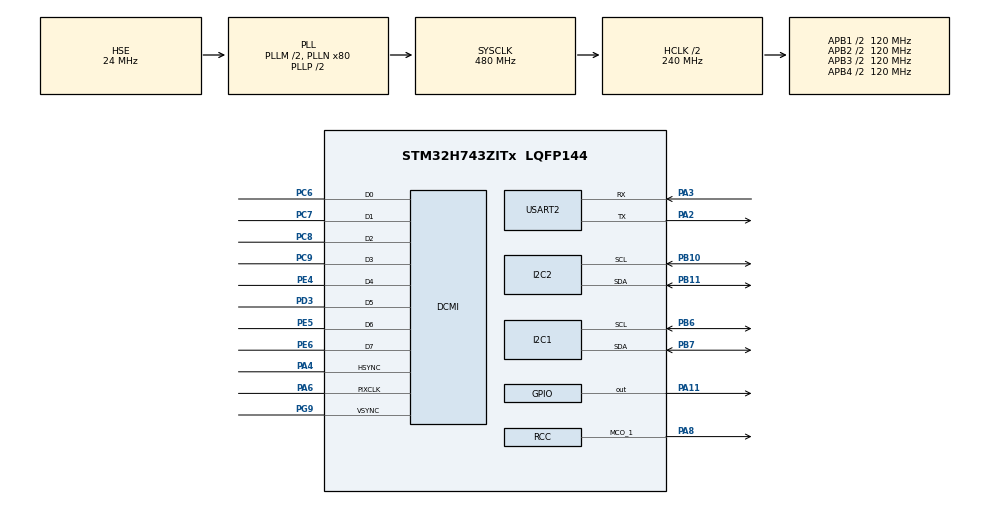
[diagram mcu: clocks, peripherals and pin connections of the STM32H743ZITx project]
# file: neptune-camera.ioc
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CORTEX_M7.default_mode_Activation=1
DCMI.HSPolarity=DCMI_HSPOLARITY_HIGH
DCMI.PCKPolarity=DCMI_PCKPOLARITY_RISING
DCMI.VSPolarity=DCMI_VSPOLARITY_HIGH
Dma.DCMI.0.Direction=DMA_PERIPH_TO_MEMORY
Dma.DCMI.0.EventEnable=DISABLE
Dma.DCMI.0.FIFOMode=DMA_FIFOMODE_ENABLE
Dma.DCMI.0.FIFOThreshold=DMA_FIFO_THRESHOLD_FULL
Dma.DCMI.0.Instance=DMA2_Stream1
Dma.DCMI.0.MemBurst=DMA_MBURST_INC4
Dma.DCMI.0.MemDataAlignment=DMA_MDATAALIGN_WORD
Dma.DCMI.0.MemInc=DMA_MINC_ENABLE
Dma.DCMI.0.Mode=DMA_NORMAL
Dma.DCMI.0.PeriphBurst=DMA_PBURST_INC4
Dma.DCMI.0.PeriphDataAlignment=DMA_PDATAALIGN_WORD
Dma.DCMI.0.PeriphInc=DMA_PINC_DISABLE
Dma.DCMI.0.Polarity=HAL_DMAMUX_REQ_GEN_RISING
Dma.DCMI.0.Priority=DMA_PRIORITY_VERY_HIGH
Dma.DCMI.0.RequestNumber=1
Dma.DCMI.0.SignalID=NONE
Dma.DCMI.0.SyncEnable=DISABLE
Dma.DCMI.0.SyncPolarity=HAL_DMAMUX_SYNC_NO_EVENT
Dma.DCMI.0.SyncRequestNumber=1
Dma.DCMI.0.SyncSignalID=NONE
Dma.Request0=DCMI
I2C1.OwnAddress=0x62
I2C1.Timing=0x307075B1
I2C2.Timing=0x307075B1
Mcu.Family=STM32H7
Mcu.Name=STM32H743ZITx
Mcu.Package=LQFP144
NVIC.DCMI_IRQn=true\:0\:0\:false\:false\:true\:true\:true\:true
NVIC.DMA2_Stream1_IRQn=true\:0\:0\:false\:false\:true\:false\:true\:true
NVIC.I2C1_ER_IRQn=true\:0\:0\:false\:false\:true\:true\:true\:true
NVIC.I2C1_EV_IRQn=true\:0\:0\:false\:false\:true\:true\:true\:true
NVIC.PriorityGroup=NVIC_PRIORITYGROUP_4
PA11.GPIO_Speed=GPIO_SPEED_FREQ_VERY_HIGH
PA11.Signal=GPIO_Output
PA13\ (JTMS/SWDIO).Mode=Serial_Wire
PA13\ (JTMS/SWDIO).Signal=DEBUG_JTMS-SWDIO
PA14\ (JTCK/SWCLK).Mode=Serial_Wire
PA14\ (JTCK/SWCLK).Signal=DEBUG_JTCK-SWCLK
PA2.Mode=Asynchronous
PA2.Signal=USART2_TX
PA3.Mode=Asynchronous
PA3.Signal=USART2_RX
PA4.Mode=Slave_8_bits_External_Synchro
PA4.Signal=DCMI_HSYNC
PA6.Mode=Slave_8_bits_External_Synchro
PA6.Signal=DCMI_PIXCLK
PA8.Mode=Clock-out-1
PA8.Signal=RCC_MCO_1
PB10.Mode=I2C
PB10.Signal=I2C2_SCL
PB11.Mode=I2C
PB11.Signal=I2C2_SDA
PB6.Mode=I2C
PB6.Signal=I2C1_SCL
PB7.Mode=I2C
PB7.Signal=I2C1_SDA
PC6.Mode=Slave_8_bits_External_Synchro
PC6.Signal=DCMI_D0
PC7.Mode=Slave_8_bits_External_Synchro
PC7.Signal=DCMI_D1
PC8.Mode=Slave_8_bits_External_Synchro
PC8.Signal=DCMI_D2
PC9.Mode=Slave_8_bits_External_Synchro
PC9.Signal=DCMI_D3
PD3.Mode=Slave_8_bits_External_Synchro
PD3.Signal=DCMI_D5
PE4.Mode=Slave_8_bits_External_Synchro
PE4.Signal=DCMI_D4
PE5.Mode=Slave_8_bits_External_Synchro
PE5.Signal=DCMI_D6
PE6.Mode=Slave_8_bits_External_Synchro
PE6.Signal=DCMI_D7
PG9.Mode=Slave_8_bits_External_Synchro
PG9.Signal=DCMI_VSYNC
PH0-OSC_IN\ (PH0).Mode=HSE-External-Oscillator
PH0-OSC_IN\ (PH0).Signal=RCC_OSC_IN
PH1-OSC_OUT\ (PH1).Mode=HSE-External-Oscillator
PH1-OSC_OUT\ (PH1).Signal=RCC_OSC_OUT
ProjectManager.HeapSize=0x200
ProjectManager.StackSize=0x400
ProjectManager.TargetToolchain=Makefile
RCC.ADCFreq_Value=48375000
RCC.APB1Freq_Value=120000000
RCC.APB2Freq_Value=120000000
RCC.APB3Freq_Value=120000000
RCC.APB4Freq_Value=120000000
RCC.CortexFreq_Value=480000000
RCC.D1PPRE=RCC_APB3_DIV2
RCC.D2PPRE1=RCC_APB1_DIV2
RCC.D2PPRE2=RCC_APB2_DIV2
RCC.D3PPRE=RCC_APB4_DIV2
RCC.DIVM1=2
RCC.DIVN1=80
RCC.HCLKFreq_Value=240000000
RCC.HPRE=RCC_HCLK_DIV2
RCC.HSE_VALUE=24000000
RCC.PLL2FRACN=0
RCC.PLL3FRACN=0
RCC.PLLFRACN=0
RCC.PLLSourceVirtual=RCC_PLLSOURCE_HSE
RCC.RCC_MCO1Source=RCC_MCO1SOURCE_HSE
RCC.SYSCLKFreq_VALUE=480000000
RCC.SYSCLKSource=RCC_SYSCLKSOURCE_PLLCLK
RCC.USBFreq_Value=480000000
USART2.VirtualMode-Asynchronous=VM_ASYNC
VP_MEMORYMAP_VS_MEMORYMAP.Mode=CurAppReg
board=custom

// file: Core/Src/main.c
/* USER CODE BEGIN Header */
/**
  ******************************************************************************
  * @file           : main.c
  * @brief          : Main program body
  ******************************************************************************
  * @attention
  *
  * Copyright (c) 2026 STMicroelectronics.
  * All rights reserved.
  *
  * This software is licensed under terms that can be found in the LICENSE file
  * in the root directory of this software component.
  * If no LICENSE file comes with this software, it is provided AS-IS.
  *
  ******************************************************************************
  */
/* USER CODE END Header */
#include "main.h"

/* USER CODE BEGIN Includes */

#include <stdio.h>
#include "ov5640.h"

/* USER CODE END Includes */

DCMI_HandleTypeDef hdcmi;
DMA_HandleTypeDef hdma_dcmi;

I2C_HandleTypeDef hi2c1;
I2C_HandleTypeDef hi2c2;

UART_HandleTypeDef huart2;

void SystemClock_Config(void);
static void MPU_Config(void);
static void MX_GPIO_Init(void);
static void MX_DMA_Init(void);
static void MX_DCMI_Init(void);
static void MX_I2C1_Init(void);
static void MX_I2C2_Init(void);
static void MX_USART2_UART_Init(void);

/* USER CODE BEGIN 0 */

uint8_t captured = 0; // DCMI capture

// for UART debug
int snprintfWritten;
char UARTbuffer[50];

#define FRAME_WIDTH  160
#define FRAME_HEIGHT 120

// RGB565: 2 bytes per pixel and DMA uses 32bit -> /4
#define FRAME_BUFFER_WORDS  ((FRAME_WIDTH * FRAME_HEIGHT * 2) / 4)

__attribute__((section(".RAM_D1"))) uint32_t frameBuffer[FRAME_BUFFER_WORDS];

OV5640_Object_t CameraObj;

// OV5640 driver interface function implementations start
OV5640_IO_t OV5640driverInterface;

// I2C init function
int32_t OV5640IOinit(void)
{
  return OV5640_OK;
}

// I2C deinit function
int32_t OV5640IOdeinit(void)
{
  return OV5640_OK;
}

// I2C write register
int32_t OV5640IOwritereg(uint16_t I2Caddress, uint16_t registerAddress, uint8_t *data, uint16_t lenght)
{
  if(HAL_I2C_Mem_Write(&hi2c2, I2Caddress << 1, registerAddress, 2, data, lenght, 1000) != HAL_OK)
  {
    return OV5640_ERROR;
  }
  else
  {
    return OV5640_OK;
  }
}

// I2C read register
int32_t OV5640IOreadreg(uint16_t I2Caddress, uint16_t registerAddress, uint8_t *data, uint16_t lenght)
{
  if(HAL_I2C_Mem_Read(&hi2c2, I2Caddress << 1, registerAddress, 2, data, lenght, 1000) != HAL_OK)
  {
    return OV5640_ERROR;
  }
  else
  {
    return OV5640_OK;
  }
}

// Millisecond tick
int32_t OV5640IOgettick(void)
{
  return (int32_t)(HAL_GetTick());
}

// OV5640 driver interface function implementations end

void HAL_DCMI_ErrorCallback(DCMI_HandleTypeDef *hdcmi)
{
    snprintfWritten = snprintf(UARTbuffer, sizeof(UARTbuffer), "DCMI ERROR! Flags: 0x%lu\n", hdcmi->Instance->SR);
    HAL_UART_Transmit(&huart2, (uint8_t*)UARTbuffer, snprintfWritten, HAL_MAX_DELAY);
}

// DCMI interrupts
void HAL_DCMI_FrameEventCallback(DCMI_HandleTypeDef *hdcmi)
{
  /*
    snprintfWritten = snprintf(UARTbuffer, sizeof(UARTbuffer), "FRAME captured!\n");
    HAL_UART_Transmit(&huart2, (uint8_t*)UARTbuffer, snprintfWritten, HAL_MAX_DELAY);
  */

  captured = 1;
}

void HAL_DCMI_VsyncEventCallback(DCMI_HandleTypeDef *hdcmi)
{
  /*
    snprintfWritten = snprintf(UARTbuffer, sizeof(UARTbuffer), "DCMI VSYNC interrupt\n");
    HAL_UART_Transmit(&huart2, (uint8_t*)UARTbuffer, snprintfWritten, HAL_MAX_DELAY);
  */
}

void HAL_DCMI_LineEventCallback(DCMI_HandleTypeDef *hdcmi)
{
  /*
    snprintfWritten = snprintf(UARTbuffer, sizeof(UARTbuffer), "DCMI HSYNC interrupt\n");
    HAL_UART_Transmit(&huart2, (uint8_t*)UARTbuffer, snprintfWritten, HAL_MAX_DELAY);
  */
}

// sends the framebuffer via UART
void sendPicture()
{
  for(int i = 0; i < FRAME_BUFFER_WORDS; i++)
  {
    snprintfWritten = snprintf(UARTbuffer, sizeof(UARTbuffer), "%lu\n", frameBuffer[i]);
    HAL_UART_Transmit(&huart2, (uint8_t*)UARTbuffer, snprintfWritten, HAL_MAX_DELAY);
  }
}

/* USER CODE END 0 */

int main(void)
{

  /* MPU Configuration--------------------------------------------------------*/
  MPU_Config();

  /* MCU Configuration--------------------------------------------------------*/

  /* Reset of all peripherals, Initializes the Flash interface and the Systick. */
  HAL_Init();

  /* Configure the system clock */
  SystemClock_Config();

  /* Initialize all configured peripherals */
  MX_GPIO_Init();
  MX_DMA_Init();
  MX_DCMI_Init();
  MX_I2C1_Init();
  MX_I2C2_Init();
  MX_USART2_UART_Init();
  /* USER CODE BEGIN 2 */

  // I2C scan
  for (uint8_t i = 0; i < 128; i++)
  {
	  if (HAL_I2C_IsDeviceReady(&hi2c2, (uint16_t)(i<<1), 3, 5) == HAL_OK)
    {
      snprintfWritten = snprintf(UARTbuffer, sizeof(UARTbuffer), "%2x ", i);
      HAL_UART_Transmit(&huart2, (uint8_t *)UARTbuffer, snprintfWritten, 1000);
	  }
    else
    {
		  snprintfWritten = snprintf(UARTbuffer, sizeof(UARTbuffer), "-- ");
      HAL_UART_Transmit(&huart2, (uint8_t *)UARTbuffer, snprintfWritten, 1000);
	  }

	  if (i > 0 && (i + 1) % 16 == 0)
    {
      snprintfWritten = snprintf(UARTbuffer, sizeof(UARTbuffer), "\n");
      HAL_UART_Transmit(&huart2, (uint8_t *)UARTbuffer, snprintfWritten, 1000);
    }
  }

  // newline after i2c scan output
  snprintfWritten = snprintf(UARTbuffer, sizeof(UARTbuffer), "\n");
  HAL_UART_Transmit(&huart2, (uint8_t *)UARTbuffer, snprintfWritten, 1000);

  // assigning OV5640 interface functions to OV5640 driver interface object
  OV5640driverInterface.Init = &OV5640IOinit;
  OV5640driverInterface.DeInit = &OV5640IOdeinit;
  OV5640driverInterface.Address = 0x3C;
  OV5640driverInterface.WriteReg = &OV5640IOwritereg;
  OV5640driverInterface.ReadReg = &OV5640IOreadreg;
  OV5640driverInterface.GetTick = &OV5640IOgettick;

  snprintfWritten = snprintf(UARTbuffer, sizeof(UARTbuffer), "Starting OV5640 setup!\n");
  HAL_UART_Transmit(&huart2, (uint8_t *)UARTbuffer, snprintfWritten, 1000);

  uint8_t cameraSuccess = 1;

  // Register bus IO for OV5640
  if(cameraSuccess == 1)
  {
    if(OV5640_RegisterBusIO(&CameraObj, &OV5640driverInterface) != OV5640_OK)
    {
      cameraSuccess = 0;
    }
  }

  // Initilaize OV5640
  if(cameraSuccess == 1)
  {
    if(OV5640_Init(&CameraObj, OV5640_R160x120, OV5640_RGB565) != OV5640_OK)
    {
      cameraSuccess = 0;
    }
  }

  // setting OV5640 pixelclock
  if(cameraSuccess == 1)
  {
    if(OV5640_SetPCLK(&CameraObj, OV5640_PCLK_7M) != OV5640_OK)
    {
      cameraSuccess = 0;
    }
  }

  // starting OV5640
  if(cameraSuccess == 1)
  {
    if(OV5640_Start(&CameraObj) != OV5640_OK)
    {
      cameraSuccess = 0;
    }
  }

  // printing out OV5640 setup state
  if(cameraSuccess == 1)
  {
    snprintfWritten = snprintf(UARTbuffer, sizeof(UARTbuffer), "OV5640 setup succesful!\n");
    HAL_UART_Transmit(&huart2, (uint8_t *)UARTbuffer, snprintfWritten, 1000);
  }
  else
  {
    snprintfWritten = snprintf(UARTbuffer, sizeof(UARTbuffer), "OV5640 setup unsuccesful!\n");
    HAL_UART_Transmit(&huart2, (uint8_t *)UARTbuffer, snprintfWritten, 1000);
  }

  HAL_Delay(1000);

  // printing out the address of the framebuffer
  snprintfWritten = snprintf(UARTbuffer, sizeof(UARTbuffer), "Start address of frameBuffer: %p\n", frameBuffer);
  HAL_UART_Transmit(&huart2, (uint8_t *)UARTbuffer, snprintfWritten, 1000);

  // Start DCMI in DCMI_MODE_SNAPSHOT mode
  HAL_DCMI_Start_DMA(&hdcmi, DCMI_MODE_SNAPSHOT, (uint32_t)frameBuffer, FRAME_BUFFER_WORDS);

  /* USER CODE END 2 */

  /* Infinite loop */
  /* USER CODE BEGIN WHILE */
  while (1)
  {
    if(captured == 1)
    {
      sendPicture();

      captured = 0;
    }

    HAL_Delay(10);

    /* USER CODE END WHILE */

  }
}

void SystemClock_Config(void)
{
  RCC_OscInitTypeDef RCC_OscInitStruct = {0};
  RCC_ClkInitTypeDef RCC_ClkInitStruct = {0};

  /** Supply configuration update enable
  */
  HAL_PWREx_ConfigSupply(PWR_LDO_SUPPLY);

  /** Configure the main internal regulator output voltage
  */
  __HAL_PWR_VOLTAGESCALING_CONFIG(PWR_REGULATOR_VOLTAGE_SCALE0);

  while(!__HAL_PWR_GET_FLAG(PWR_FLAG_VOSRDY)) {}

  /** Initializes the RCC Oscillators according to the specified parameters
  * in the RCC_OscInitTypeDef structure.
  */
  RCC_OscInitStruct.OscillatorType = RCC_OSCILLATORTYPE_HSE;
  RCC_OscInitStruct.HSEState = RCC_HSE_ON;
  RCC_OscInitStruct.PLL.PLLState = RCC_PLL_ON;
  RCC_OscInitStruct.PLL.PLLSource = RCC_PLLSOURCE_HSE;
  RCC_OscInitStruct.PLL.PLLM = 2;
  RCC_OscInitStruct.PLL.PLLN = 80;
  RCC_OscInitStruct.PLL.PLLP = 2;
  RCC_OscInitStruct.PLL.PLLQ = 2;
  RCC_OscInitStruct.PLL.PLLR = 2;
  RCC_OscInitStruct.PLL.PLLRGE = RCC_PLL1VCIRANGE_3;
  RCC_OscInitStruct.PLL.PLLVCOSEL = RCC_PLL1VCOWIDE;
  RCC_OscInitStruct.PLL.PLLFRACN = 0;
  if (HAL_RCC_OscConfig(&RCC_OscInitStruct) != HAL_OK)
  {
    Error_Handler();
  }

  /** Initializes the CPU, AHB and APB buses clocks
  */
  RCC_ClkInitStruct.ClockType = RCC_CLOCKTYPE_HCLK|RCC_CLOCKTYPE_SYSCLK
                              |RCC_CLOCKTYPE_PCLK1|RCC_CLOCKTYPE_PCLK2
                              |RCC_CLOCKTYPE_D3PCLK1|RCC_CLOCKTYPE_D1PCLK1;
  RCC_ClkInitStruct.SYSCLKSource = RCC_SYSCLKSOURCE_PLLCLK;
  RCC_ClkInitStruct.SYSCLKDivider = RCC_SYSCLK_DIV1;
  RCC_ClkInitStruct.AHBCLKDivider = RCC_HCLK_DIV2;
  RCC_ClkInitStruct.APB3CLKDivider = RCC_APB3_DIV2;
  RCC_ClkInitStruct.APB1CLKDivider = RCC_APB1_DIV2;
  RCC_ClkInitStruct.APB2CLKDivider = RCC_APB2_DIV2;
  RCC_ClkInitStruct.APB4CLKDivider = RCC_APB4_DIV2;

  if (HAL_RCC_ClockConfig(&RCC_ClkInitStruct, FLASH_LATENCY_4) != HAL_OK)
  {
    Error_Handler();
  }
  HAL_RCC_MCOConfig(RCC_MCO1, RCC_MCO1SOURCE_HSE, RCC_MCODIV_1);
}

static void MX_DCMI_Init(void)
{

  hdcmi.Instance = DCMI;
  hdcmi.Init.SynchroMode = DCMI_SYNCHRO_HARDWARE;
  hdcmi.Init.PCKPolarity = DCMI_PCKPOLARITY_RISING;
  hdcmi.Init.VSPolarity = DCMI_VSPOLARITY_HIGH;
  hdcmi.Init.HSPolarity = DCMI_HSPOLARITY_HIGH;
  hdcmi.Init.CaptureRate = DCMI_CR_ALL_FRAME;
  hdcmi.Init.ExtendedDataMode = DCMI_EXTEND_DATA_8B;
  hdcmi.Init.JPEGMode = DCMI_JPEG_DISABLE;
  hdcmi.Init.ByteSelectMode = DCMI_BSM_ALL;
  hdcmi.Init.ByteSelectStart = DCMI_OEBS_ODD;
  hdcmi.Init.LineSelectMode = DCMI_LSM_ALL;
  hdcmi.Init.LineSelectStart = DCMI_OELS_ODD;
  if (HAL_DCMI_Init(&hdcmi) != HAL_OK)
  {
    Error_Handler();
  }

}

static void MX_I2C1_Init(void)
{

  hi2c1.Instance = I2C1;
  hi2c1.Init.Timing = 0x307075B1;
  hi2c1.Init.OwnAddress1 = 196;
  hi2c1.Init.AddressingMode = I2C_ADDRESSINGMODE_7BIT;
  hi2c1.Init.DualAddressMode = I2C_DUALADDRESS_DISABLE;
  hi2c1.Init.OwnAddress2 = 0;
  hi2c1.Init.OwnAddress2Masks = I2C_OA2_NOMASK;
  hi2c1.Init.GeneralCallMode = I2C_GENERALCALL_DISABLE;
  hi2c1.Init.NoStretchMode = I2C_NOSTRETCH_DISABLE;
  if (HAL_I2C_Init(&hi2c1) != HAL_OK)
  {
    Error_Handler();
  }

  /** Configure Analogue filter
  */
  if (HAL_I2CEx_ConfigAnalogFilter(&hi2c1, I2C_ANALOGFILTER_ENABLE) != HAL_OK)
  {
    Error_Handler();
  }

  /** Configure Digital filter
  */
  if (HAL_I2CEx_ConfigDigitalFilter(&hi2c1, 0) != HAL_OK)
  {
    Error_Handler();
  }

}

static void MX_I2C2_Init(void)
{

  hi2c2.Instance = I2C2;
  hi2c2.Init.Timing = 0x307075B1;
  hi2c2.Init.OwnAddress1 = 0;
  hi2c2.Init.AddressingMode = I2C_ADDRESSINGMODE_7BIT;
  hi2c2.Init.DualAddressMode = I2C_DUALADDRESS_DISABLE;
  hi2c2.Init.OwnAddress2 = 0;
  hi2c2.Init.OwnAddress2Masks = I2C_OA2_NOMASK;
  hi2c2.Init.GeneralCallMode = I2C_GENERALCALL_DISABLE;
  hi2c2.Init.NoStretchMode = I2C_NOSTRETCH_DISABLE;
  if (HAL_I2C_Init(&hi2c2) != HAL_OK)
  {
    Error_Handler();
  }

  /** Configure Analogue filter
  */
  if (HAL_I2CEx_ConfigAnalogFilter(&hi2c2, I2C_ANALOGFILTER_ENABLE) != HAL_OK)
  {
    Error_Handler();
  }

  /** Configure Digital filter
  */
  if (HAL_I2CEx_ConfigDigitalFilter(&hi2c2, 0) != HAL_OK)
  {
    Error_Handler();
  }

}

static void MX_USART2_UART_Init(void)
{

  huart2.Instance = USART2;
  huart2.Init.BaudRate = 115200;
  huart2.Init.WordLength = UART_WORDLENGTH_8B;
  huart2.Init.StopBits = UART_STOPBITS_1;
  huart2.Init.Parity = UART_PARITY_NONE;
  huart2.Init.Mode = UART_MODE_TX_RX;
  huart2.Init.HwFlowCtl = UART_HWCONTROL_NONE;
  huart2.Init.OverSampling = UART_OVERSAMPLING_16;
  huart2.Init.OneBitSampling = UART_ONE_BIT_SAMPLE_DISABLE;
  huart2.Init.ClockPrescaler = UART_PRESCALER_DIV1;
  huart2.AdvancedInit.AdvFeatureInit = UART_ADVFEATURE_NO_INIT;
  if (HAL_UART_Init(&huart2) != HAL_OK)
  {
    Error_Handler();
  }
  if (HAL_UARTEx_SetTxFifoThreshold(&huart2, UART_TXFIFO_THRESHOLD_1_8) != HAL_OK)
  {
    Error_Handler();
  }
  if (HAL_UARTEx_SetRxFifoThreshold(&huart2, UART_RXFIFO_THRESHOLD_1_8) != HAL_OK)
  {
    Error_Handler();
  }
  if (HAL_UARTEx_DisableFifoMode(&huart2) != HAL_OK)
  {
    Error_Handler();
  }

}

static void MX_DMA_Init(void)
{

  /* DMA controller clock enable */
  __HAL_RCC_DMA2_CLK_ENABLE();

  /* DMA interrupt init */
  /* DMA2_Stream1_IRQn interrupt configuration */
  HAL_NVIC_SetPriority(DMA2_Stream1_IRQn, 0, 0);
  HAL_NVIC_EnableIRQ(DMA2_Stream1_IRQn);

}

static void MX_GPIO_Init(void)
{
  GPIO_InitTypeDef GPIO_InitStruct = {0};

  /* GPIO Ports Clock Enable */
  __HAL_RCC_GPIOE_CLK_ENABLE();
  __HAL_RCC_GPIOH_CLK_ENABLE();
  __HAL_RCC_GPIOA_CLK_ENABLE();
  __HAL_RCC_GPIOB_CLK_ENABLE();
  __HAL_RCC_GPIOC_CLK_ENABLE();
  __HAL_RCC_GPIOD_CLK_ENABLE();
  __HAL_RCC_GPIOG_CLK_ENABLE();

  /*Configure GPIO pin Output Level */
  HAL_GPIO_WritePin(GPIOA, GPIO_PIN_11, GPIO_PIN_RESET);

  /*Configure GPIO pin : PA8 */
  GPIO_InitStruct.Pin = GPIO_PIN_8;
  GPIO_InitStruct.Mode = GPIO_MODE_AF_PP;
  GPIO_InitStruct.Pull = GPIO_NOPULL;
  GPIO_InitStruct.Speed = GPIO_SPEED_FREQ_LOW;
  GPIO_InitStruct.Alternate = GPIO_AF0_MCO;
  HAL_GPIO_Init(GPIOA, &GPIO_InitStruct);

  /*Configure GPIO pin : PA11 */
  GPIO_InitStruct.Pin = GPIO_PIN_11;
  GPIO_InitStruct.Mode = GPIO_MODE_OUTPUT_PP;
  GPIO_InitStruct.Pull = GPIO_NOPULL;
  GPIO_InitStruct.Speed = GPIO_SPEED_FREQ_VERY_HIGH;
  HAL_GPIO_Init(GPIOA, &GPIO_InitStruct);

}

 /* MPU Configuration */

void MPU_Config(void)
{
  MPU_Region_InitTypeDef MPU_InitStruct = {0};

  /* Disables the MPU */
  HAL_MPU_Disable();

  /** Initializes and configures the Region and the memory to be protected
  */
  MPU_InitStruct.Enable = MPU_REGION_ENABLE;
  MPU_InitStruct.Number = MPU_REGION_NUMBER0;
  MPU_InitStruct.BaseAddress = 0x0;
  MPU_InitStruct.Size = MPU_REGION_SIZE_4GB;
  MPU_InitStruct.SubRegionDisable = 0x87;
  MPU_InitStruct.TypeExtField = MPU_TEX_LEVEL0;
  MPU_InitStruct.AccessPermission = MPU_REGION_NO_ACCESS;
  MPU_InitStruct.DisableExec = MPU_INSTRUCTION_ACCESS_DISABLE;
  MPU_InitStruct.IsShareable = MPU_ACCESS_SHAREABLE;
  MPU_InitStruct.IsCacheable = MPU_ACCESS_NOT_CACHEABLE;
  MPU_InitStruct.IsBufferable = MPU_ACCESS_NOT_BUFFERABLE;

  HAL_MPU_ConfigRegion(&MPU_InitStruct);
  /* Enables the MPU */
  HAL_MPU_Enable(MPU_PRIVILEGED_DEFAULT);

}

void Error_Handler(void)
{
  __disable_irq();
  while (1)
  {
  }
}
